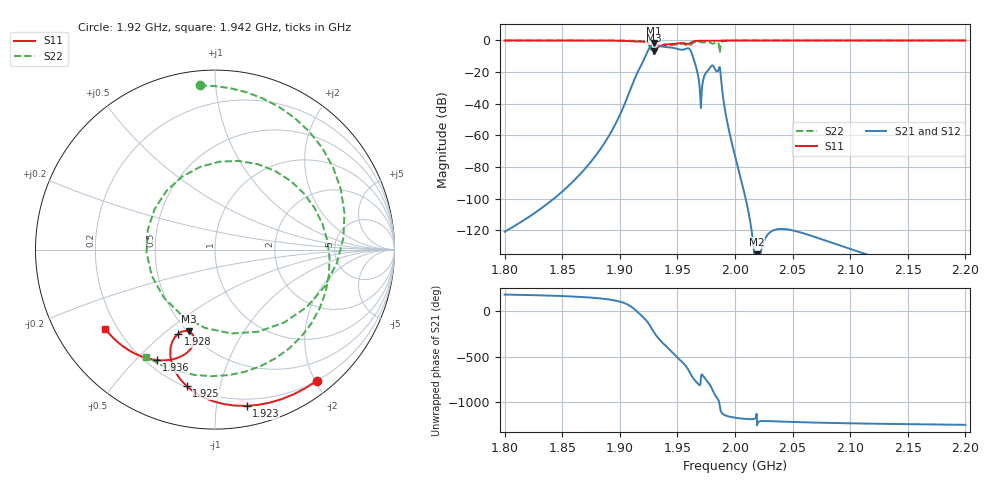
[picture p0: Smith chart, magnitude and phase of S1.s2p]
! Touchstone file exported from HFSS 2023.1.0
!  File:  E:/3.%x6211%x7684%x8BBA%x6587/%x65B0%x6D4B%x8BD5/CoaxialF93.aedt
!  Generated:  9:05:06 %x4E0B%x5348  5%x6708 27, 2023
!  Design:  S1
!  Project:  CoaxialF93
!  Setup:  Setup1
!  Solution:  Sweep
! Variables:
!  Hin1 = 26mm
!  Hout = 29mm
!  L12 = 14mm
!  L13 = 14.7mm
!  L23 = 8.7mm
!  L34 = 10.5mm
!  L45 = 10.5mm
!  L46 = 6mm
!  L56 = 8mm
!  L67 = 12.5mm
!  L78 = 9mm
!  L79 = 8mm
!  L89 = 15.5mm
!  Rin = 5mm
!  Rin2 = 4mm
!  Rout = 15mm
!  Rport = 1.15mm
!  Rport2 = 3mm
!  Rportin = 0.5mm
!  d = 3mm
!  d01 = 3mm
!  d02 = 3.9mm
!  d03 = 3.6mm
!  d04 = 3.65mm
!  d05 = 3.6mm
!  d06 = 3.6mm
!  d07 = 3.6mm
!  d08 = 3.5mm
!  d09 = 3mm
!  d12 = 18mm
!  d12x = 15.5mm
!  d12y = 25mm
!  d23 = 18mm
!  d34 = 30mm
!  hport = 10.4mm
!  hport2 = 10.4mm
!  lport = 12mm
!  lport2 = 1mm
!  lport_2 = 12mm
!  m = 2mm
!  w12 = 12mm
!  w13 = 10mm
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# GHz S MA R 50.000000
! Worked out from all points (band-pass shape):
!   1001 points, 1.8 GHz to 2.2 GHz, reference 50 ohm
!   highest |S21| = -1.81 dB at 1.93 GHz (marker M1); lowest = -175.9 dB at 2.019 GHz (marker M2)
!   |S21| within 3 dB of the highest: 1.926 GHz to 1.947 GHz (21.68 MHz wide, 1.12 % of centre)
!   lowest |S11| = -6.4 dB at 1.93 GHz (marker M3), VSWR 2.84, Z = 25.3 - j29.9 ohm
!   |S11| at or under -10 dB: nowhere
!   |S22| runs from -8.4 to 0.0 dB; largest |S21 - S12| = 2.7e-13
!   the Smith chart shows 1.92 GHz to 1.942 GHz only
!   S11 on the Smith chart (normalised r, x): 1.92 GHz: 0.20, -2.02; 1.923 GHz: 0.15, -1.21; 1.925 GHz: 0.21, -0.79; 1.928 GHz: 0.44, -0.56; 1.936 GHz: 0.24, -0.58; 1.942 GHz: 0.15, -0.32
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1.8  0.9985 -90.3  9.033e-07 178.9  9.033e-07 178.9  0.9985 -90.3
! Gamma 0.0539762374273625 37.7797036493104 0.0538317540630537 37.7795418877791
! Port Impedance 50 0 50 0
1.8668  0.9957 -117.2  6.649e-05 152.2  6.649e-05 152.2  0.9961 -115.7
1.9108  0.9377 93.8  0.03999 38.1  0.03999 38.1  0.9774 168.5
1.9204  0.9251 -52.3  0.227 -71.1  0.227 -71.1  0.9183 95.3
1.9228  0.8882 -78.6  0.3511 -102.8  0.3511 -102.8  0.8577 59.0
1.9252  0.7778 -101.6  0.5452 -142.0  0.5452 -142.0  0.7181 5.2
1.9284  0.5121 -113.7  0.789 152.3  0.789 152.3  0.4107 -116.7
1.9296  0.4786 -107.8  0.8118 127.5  0.8118 127.5  0.3817 -177.3
1.9336  0.6244 -107.6  0.7265 58.7  0.7265 58.7  0.5695 42.1
1.936  0.6957 -117.8  0.6668 25.6  0.6668 25.6  0.6506 -12.9
1.9416  0.7545 -144.2  0.6064 -43.3  0.6064 -43.3  0.7099 -122.6
1.9488  0.7929 -177.9  0.5544 -134.6  0.5544 -134.6  0.7482 87.6
1.9628  0.8936 109.2  0.3628 0.7  0.3628 0.7  0.802 64.4
1.9684  0.9751 75.0  0.06191 -83.7  0.06191 -83.7  0.8998 -76.2
1.974  0.979 49.4  0.08529 -19.5  0.08529 -19.5  0.8769 95.4
1.9792  0.9772 31.4  0.1526 -109.9  0.1526 -109.9  0.8226 -68.2
1.9856  0.9737 15.4  0.1172 103.5  0.1172 103.5  0.824 18.9
2  0.9944 -10.0  0.0002261 -88.5  0.0002261 -88.5  0.9896 4.4
2.0188  0.9966 -28.8  1.612e-09 -45.2  1.612e-09 -45.2  0.9959 -24.2
2.0668  0.9985 -51.7  6.626e-07 -141.0  6.626e-07 -141.0  0.9985 -50.8
2.1336  0.999 -66.7  1.064e-07 -156.5  1.064e-07 -156.5  0.999 -66.5
2.2  0.9991 -76.4  2.535e-08 -166.3  2.535e-08 -166.3  0.999 -76.4
